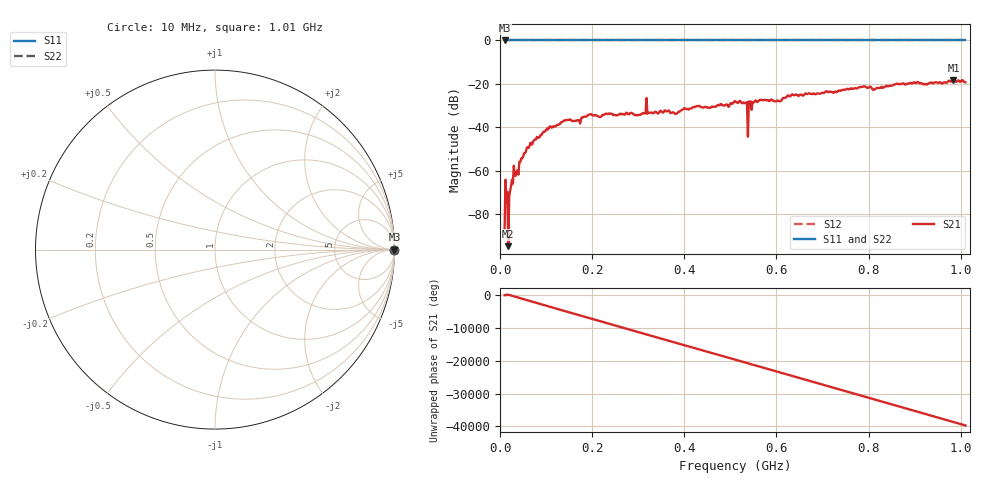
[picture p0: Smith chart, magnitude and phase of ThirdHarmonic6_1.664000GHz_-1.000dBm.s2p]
! 8/16/2025 7:56:48 PM
! C:\ANRITSUVNA\TEMP\TEMP.S2P
! CHANNEL.1
! TR.MEASUREMENT
! RAW.DATA
! RF.CORRECTION.OFF
! AVERAGING.OFF
! IF.BANDWIDTH: 5KHZ
! SWEEPTYPE:  FREQ.SWEEP(Linear)
! Reference Plane Port Info
! PORT:  PORT1  PORT2
! DISTANCE:  0  m  0  m
! TIME:  0  s  0  s
! PHASE.OFFSET:  0  deg.  0  deg.
! LOSS:  0  dB  0  dB
! REF.LOSS:  0  dB  0  dB
! REF.FREQ:  0  Hz  0  Hz
! Power Info
! POWER:  -20  dBm  -20  dBm
! EFF.POWER:  -20  dBm  -20  dBm
! SOURCE.ATTEN:  0  dB  0  dB
! TEST.ATTEN:  0  dB  0  dB
# GHZ S RI R 50.0
! FREQ.GHZ  S11RE  S11IM  S21RE  S21IM  S12RE  S12IM  S22RE  S22IM
!; PortSelection: Port_12
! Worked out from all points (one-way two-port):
!   501 points, 10 MHz to 1.01 GHz, reference 50 ohm
!   highest |S21| = -18.26 dB at 984 MHz (marker M1); lowest = -94.8 dB at 18 MHz (marker M2)
!   lowest |S11| = 0.0 dB at 10 MHz (marker M3)
!   |S11| at or under -10 dB: nowhere
!   |S22| runs from 0.0 to 0.0 dB; largest |S21 - S12| = 1.1
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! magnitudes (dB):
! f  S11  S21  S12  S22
! 10 MHz  0.0  -86.8  0.0  0.0
! 16 MHz  0.0  -69.8  0.0  0.0
! 18 MHz  0.0  -94.8  0.0  0.0
! 28 MHz  0.0  -66.0  0.0  0.0
! 62 MHz  0.0  -49.5  0.0  0.0
! 106 MHz  0.0  -40.4  0.0  0.0
! 142 MHz  0.0  -36.8  0.0  0.0
! 178 MHz  0.0  -35.4  0.0  0.0
! 196 MHz  0.0  -34.0  0.0  0.0
! 344 MHz  0.0  -33.6  0.0  0.0
! 382 MHz  0.0  -33.9  0.0  0.0
! 428 MHz  0.0  -30.2  0.0  0.0
! 510 MHz  0.0  -27.9  0.0  0.0
! 532 MHz  0.0  -28.9  0.0  0.0
! 534 MHz  0.0  -28.9  0.0  0.0
! 542 MHz  0.0  -28.4  0.0  0.0
! 544 MHz  0.0  -28.1  0.0  0.0
! 552 MHz  0.0  -28.3  0.0  0.0
! 678 MHz  0.0  -24.7  0.0  0.0
! 844 MHz  0.0  -21.0  0.0  0.0
! 984 MHz  0.0  -18.3  0.0  0.0
! 1.01 GHz  0.0  -19.3  0.0  0.0
